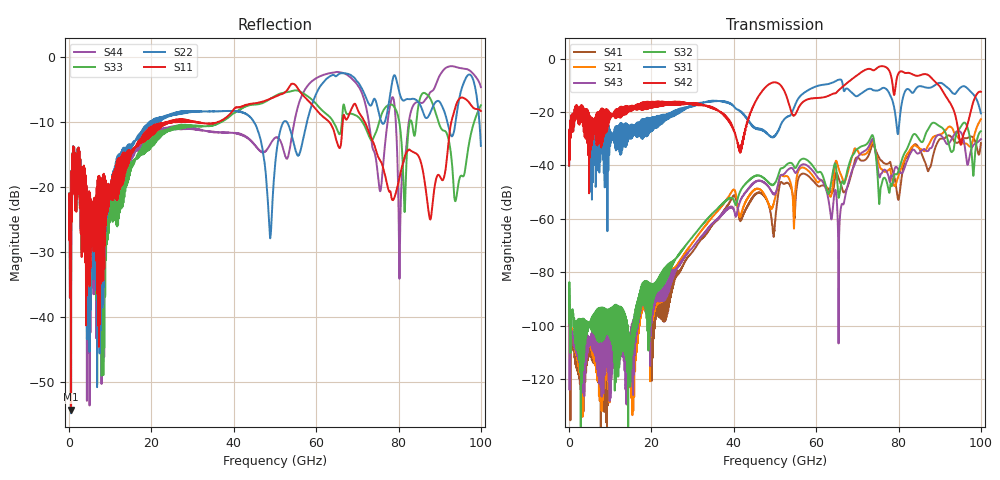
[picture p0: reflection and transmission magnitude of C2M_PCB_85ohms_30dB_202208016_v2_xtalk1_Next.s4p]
! Info: Touchstone file created by Circ.  Input file=Intel_C2M_200G_13p5in_202208016_staggered.circ
# Hz S RI R 50
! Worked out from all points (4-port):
!   10000 points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, 10 MHz to 100 GHz, reference 50 ohm
!   strongest paths, dB at 10 MHz, 25.01 GHz, 50.01 GHz, 75.01 GHz, 100 GHz:
!     S42: -40.1, -16.4, -8.9, -3.3, -12.5
!     S31: -40.2, -20.3, -28.7, -12.0, -20.6
!     S32: -99.1, -76.4, -46.5, -46.2, -27.2
!     S43: -88.5, -79.7, -50.4, -41.7, -30.2
!     S21: -88.1, -79.0, -52.2, -38.2, -22.7
!     S41: -87.4, -80.9, -61.1, -36.3, -31.7
!   lowest |S11| = -54.3 dB at 480 MHz (marker M1), VSWR 1.00, Z = 50.1 - j0.157 ohm
!   |S11| at or under -10 dB: start of sweep to 23.6 GHz; 31.19 GHz to 36.11 GHz (4.915 GHz wide, 14.6 % of centre); 71.81 GHz to 92.82 GHz (21.01 GHz wide, 25.5 % of centre)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
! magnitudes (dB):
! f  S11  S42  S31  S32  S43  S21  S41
! 10 MHz  -28.1  -40.1  -40.2  -99.1  -88.5  -88.1  -87.4
! 480 MHz  -54.3  -21.5  -21.4  -98.1  -102.7  -102.1  -107.3
! 41.53 GHz  -7.7  -35.3  -19.6  -49.9  -53.5  -59.3  -60.4
! 48.79 GHz  -6.4  -9.4  -29.2  -47.0  -48.8  -55.9  -56.6
! 76.05 GHz  -16.6  -2.9  -11.1  -46.0  -42.6  -41.8  -38.6
! 95.2 GHz  -6.2  -32.2  -10.7  -25.3  -27.7  -31.2  -30.3
! 100 GHz  -8.3  -12.5  -20.6  -27.2  -30.2  -22.7  -31.7
